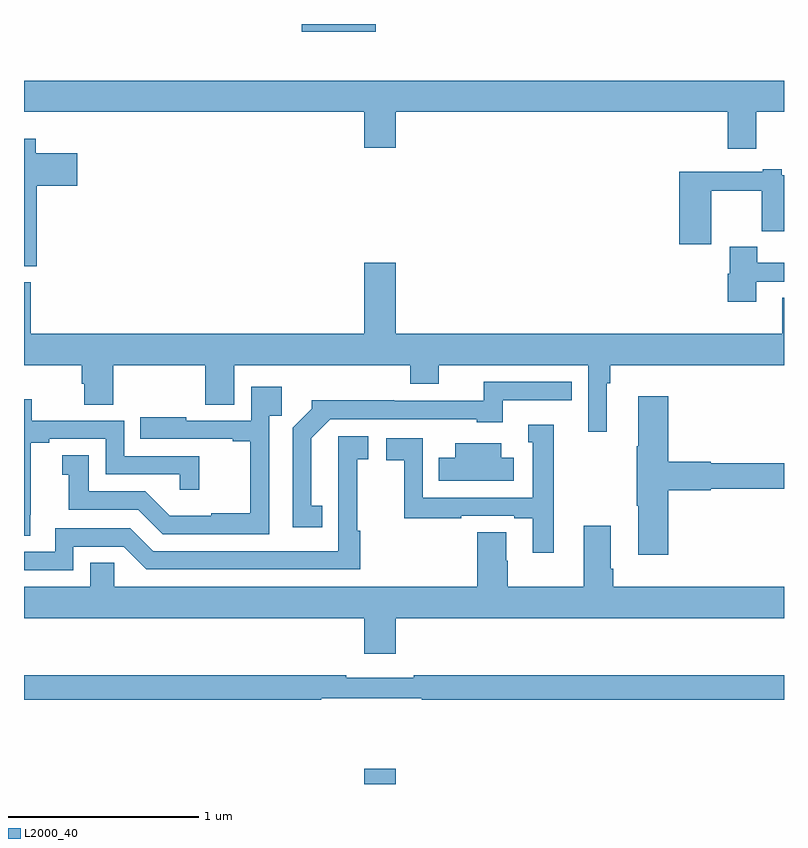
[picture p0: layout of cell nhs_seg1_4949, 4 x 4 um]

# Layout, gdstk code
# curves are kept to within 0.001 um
import gdstk
lib = gdstk.Library(unit=1e-6, precision=1e-09)
def R(c, l, rs):  # rectangles x0, y0, x1, y1
    for r in rs: c.add(gdstk.rectangle(r[:2], r[2:], *l))
def P(c, l, *ps):  # polygons
    for p in ps: c.add(gdstk.Polygon(p, *l))
L2000_40 = (2000, 40)

nhs_seg1_4949 = lib.new_cell('nhs_seg1_4949')
R(nhs_seg1_4949, L2000_40, [(380.792,544.199,380.956,544.279), (380.462,548.159,380.851,548.199)])
P(nhs_seg1_4949, L2000_40, [(382.855,547.736),(383,547.736),(383,547.9),(379,547.9),(379,547.736),(380.792,547.736),(380.792,547.548),(380.956,547.548),(380.956,547.736),(382.703,547.736),(382.703,547.542),(382.855,547.542)],
  [(379.066,547.349),(379.279,547.349),(379.279,547.519),(379.061,547.519),(379.061,547.594),(379,547.594),(379,546.924),(379.066,546.924)],
  [(382.618,547.321),(382.882,547.321),(382.882,547.109),(383,547.109),(383,547.402),(382.989,547.402),(382.989,547.435),(382.889,547.435),(382.889,547.422),(382.448,547.422),(382.448,547.041),(382.618,547.041)],
  [(382.855,546.843),(383,546.843),(383,546.943),(382.858,546.943),(382.858,547.027),(382.715,547.027),(382.715,546.885),(382.703,546.885),(382.703,546.738),(382.855,546.738)],
  [(379.036,546.839),(379,546.839),(379,546.404),(379.304,546.404),(379.304,546.306),(379.316,546.306),(379.316,546.196),(379.469,546.196),(379.469,546.404),(379.955,546.404),(379.955,546.196),(380.107,546.196),(380.107,546.404),(381.032,546.404),(381.032,546.305),(381.184,546.305),(381.184,546.404),(381.969,546.404),(381.969,546.054),(382.066,546.054),(382.066,546.308),(382.085,546.308),(382.085,546.404),(383,546.404),(383,546.758),(382.991,546.758),(382.991,546.568),(380.956,546.568),(380.956,546.943),(380.792,546.943),(380.792,546.568),(379.036,546.568)],
  [(380.57,545.663),(380.512,545.663),(380.512,546.019),(380.613,546.12),(381.384,546.12),(381.384,546.104),(381.52,546.104),(381.52,546.219),(381.884,546.219),(381.884,546.315),(381.421,546.315),(381.421,546.216),(380.948,546.216),(380.948,546.218),(380.514,546.218),(380.514,546.173),(380.415,546.074),(380.415,545.55),(380.57,545.55)],
  [(380.292,546.137),(380.357,546.137),(380.357,546.289),(380.196,546.289),(380.196,546.111),(379.855,546.111),(379.855,546.13),(379.612,546.13),(379.612,546.015),(380.099,546.015),(380.099,546.003),(380.191,546.003),(380.191,545.623),(379.985,545.623),(379.985,545.611),(379.766,545.611),(379.638,545.739),(379.342,545.739),(379.342,545.93),(379.202,545.93),(379.202,545.827),(379.235,545.827),(379.235,545.643),(379.602,545.643),(379.731,545.514),(380.292,545.514)],
  [(382.391,545.744),(382.614,545.744),(382.614,545.752),(383,545.752),(383,545.888),(382.614,545.888),(382.614,545.896),(382.391,545.896),(382.391,546.241),(382.232,546.241),(382.232,545.977),(382.225,545.977),(382.225,545.663),(382.232,545.663),(382.232,545.406),(382.391,545.406)],
  [(379.034,545.617),(379.036,545.617),(379.036,545.995),(379.132,545.995),(379.132,546.015),(379.431,546.015),(379.431,545.829),(379.821,545.829),(379.821,545.748),(379.922,545.748),(379.922,545.925),(379.527,545.925),(379.527,546.111),(379.04,546.111),(379.04,546.225),(379,546.225),(379,545.506),(379.034,545.506)],
  [(381.787,546.091),(381.653,546.091),(381.653,545.997),(381.678,545.997),(381.678,545.706),(381.099,545.706),(381.099,546.018),(380.907,546.018),(380.907,545.902),(381.001,545.902),(381.001,545.598),(381.302,545.598),(381.302,545.61),(381.581,545.61),(381.581,545.598),(381.677,545.598),(381.677,545.415),(381.787,545.415)],
  [(379.26,545.448),(379.524,545.448),(379.644,545.328),(380.771,545.328),(380.771,545.531),(380.754,545.531),(380.754,545.907),(380.812,545.907),(380.812,546.028),(380.654,546.028),(380.655,545.424),(379.68,545.424),(379.56,545.544),(379.164,545.544),(379.164,545.421),(379,545.421),(379,545.325),(379.26,545.325)],
  [(381.577,545.917),(381.511,545.917),(381.511,545.992),(381.269,545.992),(381.269,545.917),(381.184,545.917),(381.184,545.795),(381.577,545.795)],
  [(382.087,545.332),(382.087,545.557),(381.947,545.557),(381.947,545.236),(381.546,545.236),(381.546,545.375),(381.538,545.375),(381.538,545.525),(381.386,545.525),(381.386,545.236),(379.476,545.236),(379.476,545.363),(379.349,545.363),(379.349,545.236),(379,545.236),(379,545.072),(380.792,545.072),(380.792,544.884),(380.956,544.884),(380.956,545.072),(383,545.072),(383,545.236),(382.1,545.236),(382.1,545.332)],
  [(380.564,544.65),(381.093,544.65),(381.093,544.642),(383,544.642),(383,544.771),(381.052,544.771),(381.052,544.758),(380.696,544.758),(380.696,544.771),(379,544.771),(379,544.642),(380.564,544.642)])

lib.write_gds('nhs_seg1_4949.gds')
